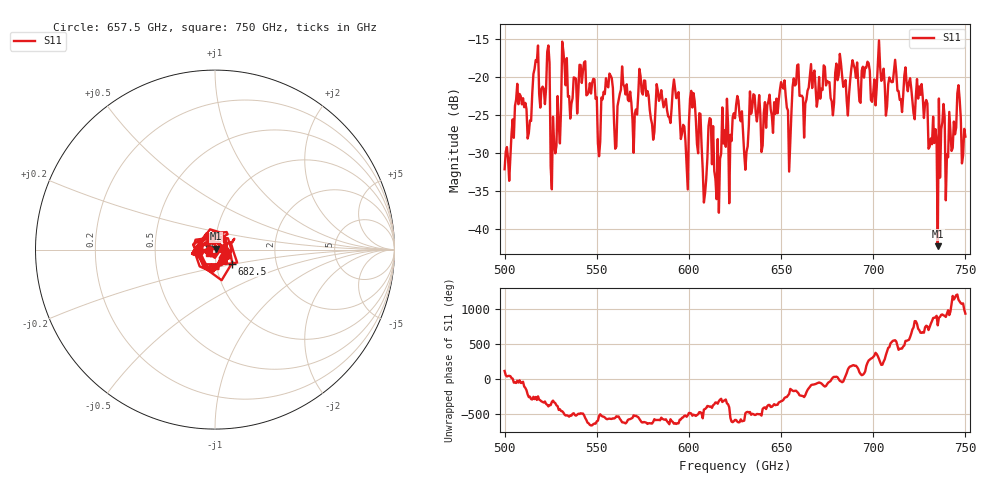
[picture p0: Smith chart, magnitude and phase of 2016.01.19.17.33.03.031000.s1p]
!Created with skrf (http://scikit-rf.org).
# GHz S RI R 50.0
!freq ReS11 ImS11
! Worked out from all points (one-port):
!   401 points, 500 GHz to 750 GHz, reference 50 ohm
!   lowest |S11| = -42.2 dB at 735 GHz (marker M1), VSWR 1.02, Z = 50.6 + j0.548 ohm
!   |S11| at or under -10 dB: start of sweep to end of sweep
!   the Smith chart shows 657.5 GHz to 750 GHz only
!   S11 on the Smith chart (normalised r, x): 657.5 GHz: 0.84, -0.02; 682.5 GHz: 1.20, -0.19; 750 GHz: 0.93, -0.04
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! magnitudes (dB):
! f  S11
! 500 GHz  -32.1
! 507.5 GHz  -23.5
! 513.8 GHz  -25.7
! 516.9 GHz  -17.7
! 523.1 GHz  -16.6
! 526.2 GHz  -25.2
! 531.2 GHz  -15.3
! 542.5 GHz  -19.2
! 550.6 GHz  -28.7
! 556.2 GHz  -21.3
! 562.5 GHz  -22.2
! 593.8 GHz  -22.5
! 598.1 GHz  -28.4
! 601.9 GHz  -24.0
! 608.8 GHz  -35.3
! 611.9 GHz  -25.5
! 615 GHz  -36.0
! 625 GHz  -25.4
! 630.6 GHz  -32.1
! 634.4 GHz  -24.0
! 656.2 GHz  -21.2
! 657.5 GHz  -21.1
! 682.5 GHz  -18.2
! 687.5 GHz  -20.3
! 718.8 GHz  -21.8
! 735 GHz  -42.2
! 746.2 GHz  -21.0
! 750 GHz  -27.8
